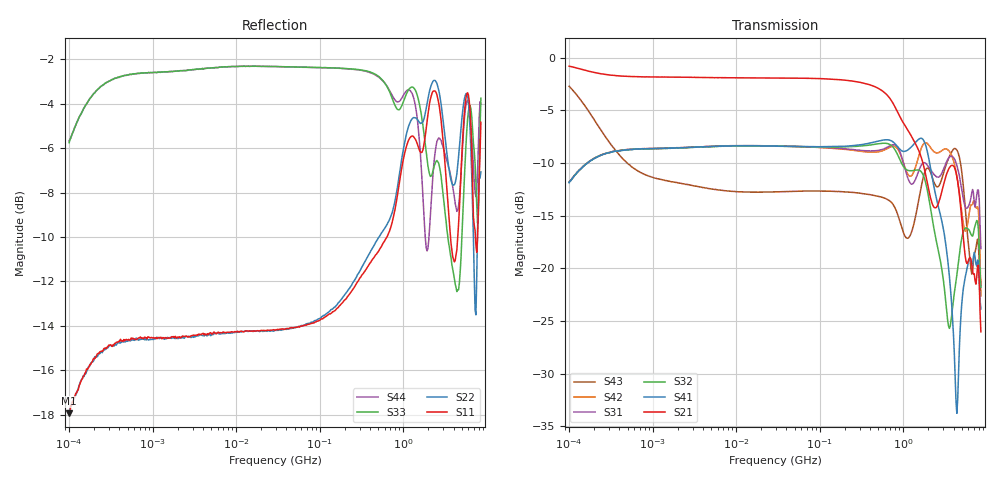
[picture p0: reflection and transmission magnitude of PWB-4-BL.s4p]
# MHz S MA R 50
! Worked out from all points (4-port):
!   498 points, 100 kHz to 8.5 GHz, reference 50 ohm
!   strongest paths, dB at 100 kHz, 1.698 MHz, 29.49 MHz, 500.7 MHz, 8.5 GHz:
!     S21: -0.8, -1.8, -1.9, -2.9, -26.0
!     S41: -11.9, -8.6, -8.4, -7.9, -23.9
!     S32: -11.8, -8.6, -8.4, -8.2, -21.8
!     S31: -11.8, -8.6, -8.4, -8.8, -18.1
!     S42: -11.8, -8.6, -8.4, -8.9, -22.6
!     S43: -2.7, -11.8, -12.7, -13.2, -21.7
!   lowest |S11| = -17.9 dB at 100 kHz (marker M1), VSWR 1.29, Z = 58.5 + j10.9 ohm
!   |S11| at or under -10 dB: start of sweep to 638.6 MHz; 3.679 GHz to 4.494 GHz (814.5 MHz wide, 19.9 % of centre); 7.318 GHz to 7.762 GHz (444.3 MHz wide, 5.89 % of centre)
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0.1  0.1267 46.1  0.9126 -5.8  0.2558 46.6  0.2552 -133.5
     0.9126 -5.8  0.1279 48.9  0.2561 -134.0  0.2567 46.0
     0.2558 46.6  0.2561 -134.0  0.5154 45.3  0.7322 -30.2
     0.2552 -133.5  0.2567 46.0  0.7322 -30.2  0.5201 45.3
175.1055  0.2218 2.0  0.7869 -32.1  0.3715 -18.8  0.3794 139.9
          0.7869 -32.1  0.2269 0.8  0.3772 140.9  0.3692 -19.6
          0.3715 -18.8  0.3772 140.9  0.7584 -19.8  0.2315 -38.3
          0.3794 139.9  0.3692 -19.6  0.2315 -38.3  0.758 -21.8
1533.002  0.4998 -136.7  0.3627 89.9  0.2907 -137.8  0.4105 -115.0
          0.3627 89.9  0.5752 -135.5  0.2927 -111.7  0.341 -140.4
          0.2907 -137.8  0.2927 -111.7  0.6394 -160.5  0.2114 3.4
          0.4105 -115.0  0.341 -140.4  0.2114 3.4  0.5417 -177.2
3183.684  0.4541 90.6  0.2675 158.5  0.3102 70.9  0.1352 14.5
          0.2675 158.5  0.5253 102.0  0.07311 52.2  0.3692 34.3
          0.3102 70.9  0.07311 52.2  0.355 88.0  0.3014 125.5
          0.1352 14.5  0.3692 34.3  0.3014 125.5  0.4829 114.1
5142.985  0.5253 -80.9  0.1522 -117.4  0.2221 -142.0  0.07523 -77.5
          0.1522 -117.4  0.6068 -96.5  0.1457 -75.1  0.1713 172.0
          0.2221 -142.0  0.1457 -75.1  0.3475 -74.3  0.2643 -126.1
          0.07523 -77.5  0.1713 172.0  0.2643 -126.1  0.5094 -86.4
6920.76  0.3506 168.9  0.09407 92.5  0.2283 36.3  0.1132 87.0
         0.09407 92.5  0.3139 168.9  0.1467 93.1  0.2087 -0.3
         0.2283 36.3  0.1467 93.1  0.5145 -157.8  0.1082 92.7
         0.1132 87.0  0.2087 -0.3  0.1082 92.7  0.4583 177.8
8500  0.5729 -52.2  0.04992 -65.9  0.124 -148.4  0.06411 -103.1
      0.04992 -65.9  0.443 -60.1  0.08141 -97.3  0.07387 169.0
      0.124 -148.4  0.08141 -97.3  0.6491 -36.7  0.0827 -113.1
      0.06411 -103.1  0.07387 169.0  0.0827 -113.1  0.6297 -68.3
